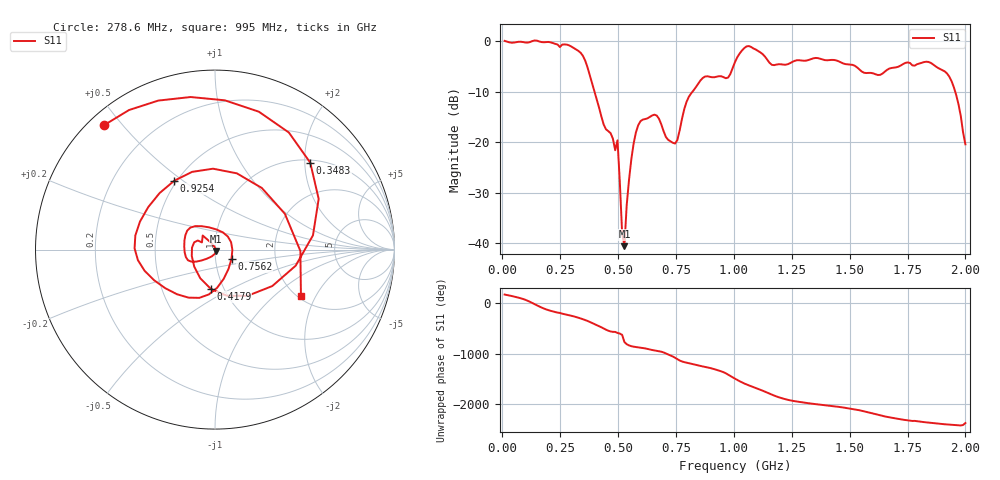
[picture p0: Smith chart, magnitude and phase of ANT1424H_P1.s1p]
!Created with skrf (http://scikit-rf.org).
# Hz S RI R 50.0
!freq ReS11 ImS11
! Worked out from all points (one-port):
!   201 points, 10 MHz to 2 GHz, reference 50 ohm
!   lowest |S11| = -40.7 dB at 527.4 MHz (marker M1), VSWR 1.02, Z = 50.6 - j0.708 ohm
!   |S11| at or under -10 dB: 397.9 MHz to 821.1 MHz (423.1 MHz wide, 69.4 % of centre); 1.956 GHz to end of sweep
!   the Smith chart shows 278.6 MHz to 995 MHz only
!   S11 on the Smith chart (normalised r, x): 278.6 MHz: 0.04, +0.45; 348.3 MHz: 1.06, +2.13; 417.9 MHz: 0.87, -0.40; 756.2 MHz: 1.20, -0.12; 925.4 MHz: 0.48, +0.46; 995 MHz: 2.08, -1.53
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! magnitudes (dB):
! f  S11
! 10 MHz  0.1
! 258.8 MHz  -0.6
! 278.6 MHz  -0.6
! 348.3 MHz  -2.9
! 417.9 MHz  -13.1
! 487.6 MHz  -21.6
! 497.6 MHz  -19.6
! 507.5 MHz  -27.8
! 517.5 MHz  -38.0
! 527.4 MHz  -40.7
! 537.4 MHz  -32.5
! 557.2 MHz  -23.4
! 587.1 MHz  -16.6
! 666.7 MHz  -14.7
! 716.5 MHz  -19.5
! 756.2 MHz  -19.5
! 806 MHz  -11.0
! 925.4 MHz  -7.0
! 995 MHz  -5.3
! 1.005 GHz  -4.1
! 1.065 GHz  -0.9
! 1.254 GHz  -4.0
! 1.502 GHz  -4.6
! 1.622 GHz  -6.7
! 1.751 GHz  -4.2
! 1.93 GHz  -7.0
! 1.97 GHz  -12.5
! 2 GHz  -20.4
